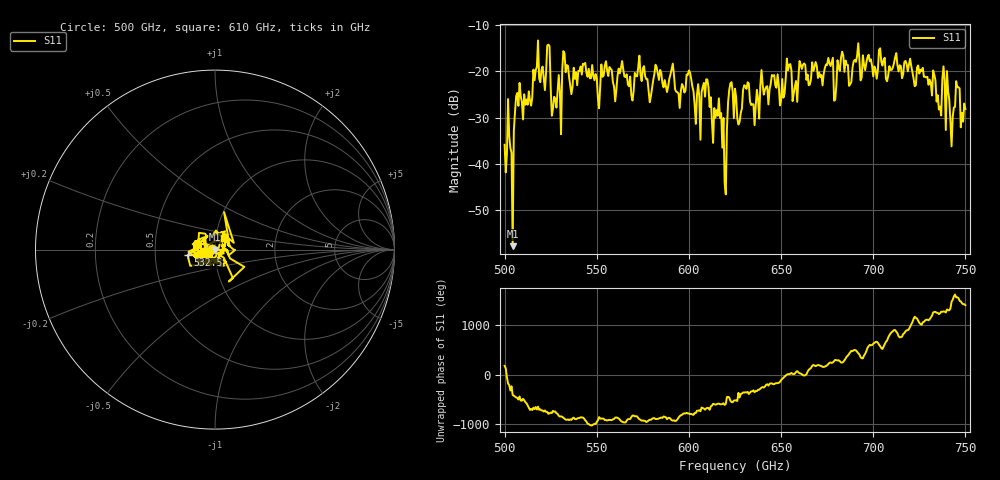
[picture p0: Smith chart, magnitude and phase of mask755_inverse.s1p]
!Created with skrf (http://scikit-rf.org).
# GHz S MA R 50.0
!freq magS11 angS11
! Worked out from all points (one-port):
!   401 points, 500 GHz to 750 GHz, reference 50 ohm
!   lowest |S11| = -57.8 dB at 504.4 GHz (marker M1), VSWR 1.00, Z = 50.1 - j0.0973 ohm
!   |S11| at or under -10 dB: start of sweep to end of sweep
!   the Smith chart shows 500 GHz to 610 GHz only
!   S11 on the Smith chart (normalised r, x): 500 GHz: 0.97, +0.00; 532.5 GHz: 0.73, -0.05; 610 GHz: 1.09, +0.14
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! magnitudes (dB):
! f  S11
! 500 GHz  -35.9
! 504.4 GHz  -57.8
! 506.9 GHz  -24.7
! 513.8 GHz  -26.3
! 516.9 GHz  -19.8
! 523.8 GHz  -14.2
! 526.9 GHz  -25.5
! 531.2 GHz  -19.8
! 532.5 GHz  -16.1
! 550.6 GHz  -25.8
! 562.5 GHz  -20.5
! 579.4 GHz  -25.4
! 590.6 GHz  -19.5
! 593.8 GHz  -24.5
! 610 GHz  -21.8
! 617.5 GHz  -29.0
! 619.4 GHz  -44.1
! 622.5 GHz  -22.6
! 625 GHz  -23.8
! 656.2 GHz  -26.4
! 687.5 GHz  -22.8
! 691.2 GHz  -16.6
! 718.8 GHz  -20.0
! 735.6 GHz  -28.3
! 738.8 GHz  -22.1
! 743.1 GHz  -29.8
! 745.6 GHz  -23.5
! 750 GHz  -28.2
